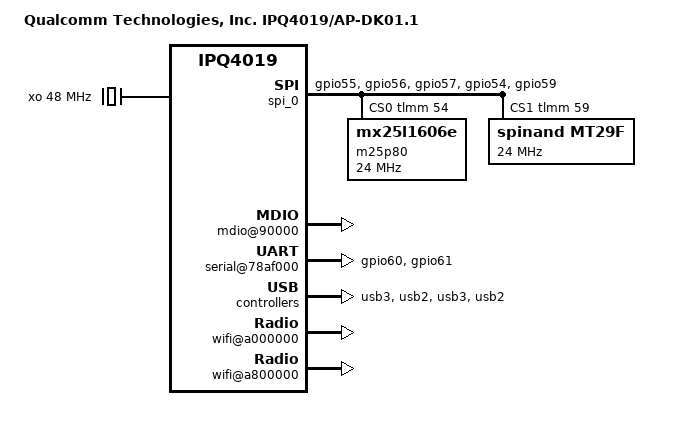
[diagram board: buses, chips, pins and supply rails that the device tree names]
/* Copyright (c) 2015, The Linux Foundation. All rights reserved.
 *
 * Permission to use, copy, modify, and/or distribute this software for any
 * purpose with or without fee is hereby granted, provided that the above
 * copyright notice and this permission notice appear in all copies.
 *
 * THE SOFTWARE IS PROVIDED "AS IS" AND THE AUTHOR DISCLAIMS ALL WARRANTIES
 * WITH REGARD TO THIS SOFTWARE INCLUDING ALL IMPLIED WARRANTIES OF
 * MERCHANTABILITY AND FITNESS. IN NO EVENT SHALL THE AUTHOR BE LIABLE FOR
 * ANY SPECIAL, DIRECT, INDIRECT, OR CONSEQUENTIAL DAMAGES OR ANY DAMAGES
 * WHATSOEVER RESULTING FROM LOSS OF USE, DATA OR PROFITS, WHETHER IN AN
 * ACTION OF CONTRACT, NEGLIGENCE OR OTHER TORTIOUS ACTION, ARISING OUT OF
 * OR IN CONNECTION WITH THE USE OR PERFORMANCE OF THIS SOFTWARE.
 *
 */

#include "qcom-ipq4019.dtsi"


/ {
	model = "Qualcomm Technologies, Inc. IPQ4019/AP-DK01.1";
	compatible = "qcom,ipq4019";

	clocks {
                xo: xo {
                        compatible = "fixed-clock";
                        clock-frequency = <48000000>;
                        #clock-cells = <0>;
                };
	};

	soc {


		timer {
			compatible = "arm,armv7-timer";
			interrupts = <1 2 0xf08>,
				     <1 3 0xf08>,
				     <1 4 0xf08>,
				     <1 1 0xf08>;
			clock-frequency = <48000000>;
		};

		pinctrl@0x01000000 {
			mdio_pins: mdio_pinmux {
				pinmux_1 {
					pins = "gpio53";
					function = "mdio1";
				};
				pinmux_2 {
					pins = "gpio52";
					function = "mdc";
				};
				pinconf {
					pins = "gpio52", "gpio53";
					bias-pull-up;
				};
			};

			serial_pins: serial_pinmux {
				mux {
					pins = "gpio60", "gpio61";
					function = "blsp_uart0";
					bias-disable;
				};
			};

			spi_0_pins: spi_0_pinmux {
				pinmux {
					function = "blsp_spi0";
					pins = "gpio55", "gpio56", "gpio57";
				};
				pinmux_cs {
					function = "gpio";
					pins = "gpio54", "gpio59";
				};
				pinconf {
					pins =   "gpio55", "gpio56", "gpio57";
					/*drive-strength = <12>;*/
					bias-disable;
				};
				pinconf_cs {
					pins = "gpio54", "gpio59";
					drive-strength = <2>;
					bias-disable;
					output-high;
					/*bias-pull-up;*/
				};
			};
		};

		blsp_dma: dma@7884000 {
			status = "ok";
		};

		spi_0: spi@78b5000 {
			pinctrl-0 = <&spi_0_pins>;
			pinctrl-names = "default";
			status = "ok";

			cs-gpios = <&tlmm 54 0>,
					<&tlmm 59 0>;

			mx25l25635e@0 {
				status = "disabled";
			};

			m25p80@0 {
				#address-cells = <1>;
				#size-cells = <0>;
				reg = <0>;
				compatible = "mx25l1606e", "n25q128a11";
				linux,modalias = "m25p80", "mx25l1606e", "n25q128a11";
				spi-max-frequency = <24000000>;
			};

			mt29f@1 {
				status = "ok";
				#address-cells = <1>;
				#size-cells = <0>;
				compatible = "spinand,mt29f", "w25n01gv";
				reg = <1>;
				spi-max-frequency = <24000000>;
			};
		};
		
		counter@4a1000 {
			compatible = "qcom,qca-gcnt";
			reg = <0x4a1000 0x4>;
		};
		
		mdio@90000 {
			status = "okay";
		};
		
		ess-switch@c000000 {
			status = "ok";
		};

		serial@78af000 {
			pinctrl-0 = <&serial_pins>;
			pinctrl-names = "default";
			status = "ok";
		};

		cryptobam: dma@8e04000 {
			status = "ok";
		};

		crypto@8e3a000 {
			status = "ok";
		};

		watchdog@b017000 {
			status = "ok";
		};

		usb3_ss_phy: ssphy@9a000 {
			status = "ok";
		};

		usb3_hs_phy: hsphy@a6000 {
			status = "ok";
		};

		usb3: usb3@8af8800 {
			status = "ok";
		};

		usb2_hs_phy: hsphy@a8000 {
			status = "ok";
		};

		usb2: usb2@60f8800 {
			status = "ok";
		};

		usb3_ss_phy: ssphy@9a000 {
			status = "ok";
		};

		usb3_hs_phy: hsphy@a6000 {
			status = "ok";
		};

		usb3: usb3@8af8800 {
			status = "ok";
		};

		usb2_hs_phy: hsphy@a8000 {
			status = "ok";
		};

		usb2: usb2@60f8800 {
			status = "ok";
		};
		
		wifi@a000000 {
			status = "okay";
		};

		wifi@a800000 {
			status = "okay";
		};

		usb3_ss_phy: ssphy@9a000 {
			status = "ok";
		};

		usb3_hs_phy: hsphy@a6000 {
			status = "ok";
		};

		usb3: usb3@8af8800 {
			status = "ok";
		};

		usb2_hs_phy: hsphy@a8000 {
			status = "ok";
		};

		usb2: usb2@60f8800 {
			status = "ok";
		};

		usb3_ss_phy: ssphy@9a000 {
			status = "ok";
		};

		usb3_hs_phy: hsphy@a6000 {
			status = "ok";
		};

		usb3: usb3@8af8800 {
			status = "ok";
		};

		usb2_hs_phy: hsphy@a8000 {
			status = "ok";
		};

		usb2: usb2@60f8800 {
			status = "ok";
		};
	};
};
